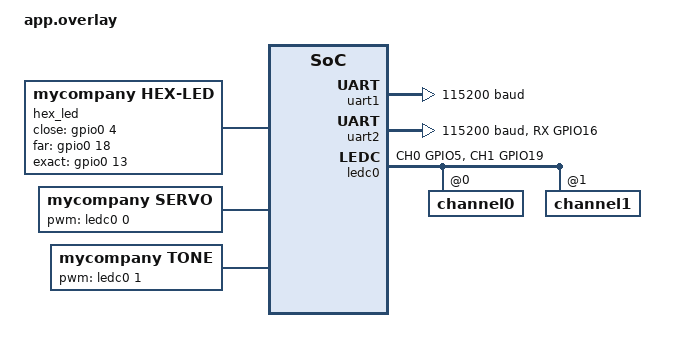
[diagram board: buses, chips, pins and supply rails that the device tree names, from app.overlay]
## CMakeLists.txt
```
cmake_minimum_required(VERSION 3.20.0)

# Directories that CONTAIN dts/bindings. Must come before find_package.
list(APPEND DTS_ROOT
    ${CMAKE_CURRENT_SOURCE_DIR}/modules/servo
    ${CMAKE_CURRENT_SOURCE_DIR}/modules/hex_led
    ${CMAKE_CURRENT_SOURCE_DIR}/modules/tone
    ${CMAKE_CURRENT_SOURCE_DIR}/modules/receiver
)

find_package(Zephyr REQUIRED HINTS $ENV{ZEPHYR_BASE})
project(system1)

target_sources(app PRIVATE
    src/main.c
    modules/servo/src/servo.c
    modules/hex_led/src/hex_led.c
    modules/tone/src/tone.c
    modules/receiver/src/receiver.c
)

target_include_directories(app PRIVATE
    ${CMAKE_CURRENT_SOURCE_DIR}/modules/servo/include
    ${CMAKE_CURRENT_SOURCE_DIR}/modules/hex_led/include
    ${CMAKE_CURRENT_SOURCE_DIR}/modules/tone/include
    ${CMAKE_CURRENT_SOURCE_DIR}/modules/receiver/include
)
```

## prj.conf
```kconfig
CONFIG_SERIAL=y
CONFIG_CONSOLE=y
CONFIG_PRINTK=y
CONFIG_STDOUT_CONSOLE=y
CONFIG_PWM=y
CONFIG_UART_CONSOLE=y
CONFIG_MAIN_STACK_SIZE=2048
CONFIG_UART_INTERRUPT_DRIVEN=n
CONFIG_UART_ASYNC_API=n

CONFIG_LOG=y
CONFIG_LOG_DEFAULT_LEVEL=3
```

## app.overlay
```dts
#include <zephyr/dt-bindings/pinctrl/esp32-pinctrl.h>
#include <zephyr/dt-bindings/pwm/pwm.h>

/ {
    hex_led: hex-led {
        compatible = "mycompany,hex-led";
        status = "okay";

        close-gpios = <&gpio0 4 GPIO_ACTIVE_HIGH>;
        far-gpios = <&gpio0 18 GPIO_ACTIVE_HIGH>;
        exact-gpios = <&gpio0 13 GPIO_ACTIVE_HIGH>;
    };

    servo: servo {
        compatible = "mycompany,servo";
        status = "okay";

        /*
         * LEDC channel 0
         * 20,000,000 ns = 20 ms = 50 Hz
         */
        pwms = <&ledc0 0 20000000 PWM_POLARITY_NORMAL>;

        min-pulse = <1000>;
        max-pulse = <2000>;
        min-angle = <0>;
        max-angle = <180>;
    };
    tone: tone {
        compatible = "mycompany,tone";
        pwms = <&ledc0 1 125000 0>;
        status = "okay";
    };

    receiver: receiver {
        compatible = "mycompany,receiver";
        status = "okay";
	uart=<&uart2>;
    };

};

&pinctrl {
    ledc0_pins: ledc0_pins {
        group1 {
            pinmux = <LEDC_CH0_GPIO5>;
            output-enable;
        };
        group2 {
            pinmux = <LEDC_CH1_GPIO19>;   /* your buzzer pin */
            output-enable;
        };
    };
};

&uart1 {
    status = "okay";
    current-speed = <115200>;
};

&pinctrl {
    uart2_default: uart2_default {
        group1 {
            pinmux = <UART2_RX_GPIO16>;
            bias-pull-up;
        };
    };
};

&uart2 {
    status = "okay";
    current-speed = <115200>;
    pinctrl-0 = <&uart2_default>;
    pinctrl-names = "default";
};


&ledc0 {
    pinctrl-0 = <&ledc0_pins>;
    pinctrl-names = "default";
    status = "okay";

    #address-cells = <1>;
    #size-cells = <0>;

    channel0@0 {
        reg = <0>;
        timer = <0>;
    };

    channel1@1 {
        reg = <1>;
        timer = <1>;   /* separate from the servo's timer */
    };
};
```

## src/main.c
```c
#include <stdio.h>
#include <stdint.h>
#include <string.h>
#include <stdlib.h>

#include <zephyr/kernel.h>
#include <zephyr/device.h>
#include <zephyr/drivers/uart.h>

#include <servo.h>
#include <hex_led.h>
#include <tone.h>
#include <receiver.h>

#define TARGET      0x3FF44564u
#define NEAR_BAND   16u

#define STACK_SIZE  2048
#define PRIORITY    5
#define QUEUE_SIZE  8

/* Tone command limits */
#define TONE_MIN_HZ   20u
#define TONE_MAX_HZ   20000u
#define TONE_MIN_MS   1u
#define TONE_MAX_MS   10000u

K_MSGQ_DEFINE(hex_msgq, sizeof(uint32_t), QUEUE_SIZE, 4);
K_MSGQ_DEFINE(angle_msgq, sizeof(uint32_t), QUEUE_SIZE, 4);
K_MSGQ_DEFINE(tone_msgq, sizeof(uint32_t) * 2, QUEUE_SIZE, 4);
K_MSGQ_DEFINE(receiver_msgq, sizeof(uint8_t), QUEUE_SIZE, 4);

K_THREAD_STACK_DEFINE(led_stack, STACK_SIZE);
K_THREAD_STACK_DEFINE(servo_stack, STACK_SIZE);
K_THREAD_STACK_DEFINE(input_stack, STACK_SIZE);
K_THREAD_STACK_DEFINE(tone_stack, STACK_SIZE);
K_THREAD_STACK_DEFINE(receiver_stack, STACK_SIZE);

K_MUTEX_DEFINE(print_mutex);

/* All task output goes through this so lines from different threads
 * don't interleave. */
#define LOCKED_PRINTF(...)                      \
    do {                                        \
        k_mutex_lock(&print_mutex, K_FOREVER);  \
        printf(__VA_ARGS__);                    \
        k_mutex_unlock(&print_mutex);           \
    } while (0)

static struct k_thread receiver_thread_data;
static struct k_thread led_thread_data;
static struct k_thread servo_thread_data;
static struct k_thread input_thread_data;
static struct k_thread tone_thread_data;

static const struct device *leds =
    DEVICE_DT_GET(DT_NODELABEL(hex_led));

static const struct device *uart_dev =
    DEVICE_DT_GET(DT_CHOSEN(zephyr_console));

struct tone_command {
    uint32_t duration_ms;
    uint32_t frequency_hz;
};

/* ---------- Input task ---------- */

static void input_task(void *p1, void *p2, void *p3)
{
    ARG_UNUSED(p1);
    ARG_UNUSED(p2);
    ARG_UNUSED(p3);

    char line[32];
    size_t pos = 0;

    LOCKED_PRINTF("\nCommands:\n"
                  "  hex <value>\n"
                  "  angle <1-180>\n"
                  "  tone <time(ms)> <frequency(Hz)>\n\n"
                  "> ");

    while (1) {
        unsigned char c;

        if (uart_poll_in(uart_dev, &c) != 0) {
            k_msleep(10);
            continue;
        }

        /* Ignore carriage return; process newline */
        if (c == '\r') {
            continue;
        }

        if (c == '\n') {
            line[pos] = '\0';

            if (pos > 0) {

                if (strncmp(line, "hex ", 4) == 0) {

                    uint32_t value =
                        (uint32_t)strtoul(&line[4], NULL, 16);

                    if (k_msgq_put(&hex_msgq,
                                   &value,
                                   K_NO_WAIT) != 0) {
                        LOCKED_PRINTF("\nHex queue full\n");
                    }
                }

                else if (strncmp(line, "angle ", 6) == 0) {

                    uint32_t angle =
                        (uint32_t)strtoul(&line[6], NULL, 10);

                    if (angle >= 1 && angle <= 180) {

                        if (k_msgq_put(&angle_msgq,
                                       &angle,
                                       K_NO_WAIT) != 0) {
                            LOCKED_PRINTF("\nAngle queue full\n");
                        }

                    } else {
                        LOCKED_PRINTF("\nAngle must be 1-180\n");
                    }
                }

                else if (strncmp(line, "tone ", 5) == 0) {

                    char *end;

                    uint32_t duration =
                        (uint32_t)strtoul(&line[5], &end, 10);

                    while (*end == ' ') {
                        end++;
                    }

                    uint32_t frequency =
                        (uint32_t)strtoul(end, NULL, 10);

                    struct tone_command command = {
                        .duration_ms = duration,
                        .frequency_hz = frequency
                    };

                    if (duration < TONE_MIN_MS || duration > TONE_MAX_MS ||
                        frequency < TONE_MIN_HZ || frequency > TONE_MAX_HZ) {
                        LOCKED_PRINTF("\nUsage: tone <%u-%u ms> <%u-%u Hz>\n",
                                      TONE_MIN_MS, TONE_MAX_MS,
                                      TONE_MIN_HZ, TONE_MAX_HZ);
                    } else if (k_msgq_put(&tone_msgq,
                                          &command,
                                          K_NO_WAIT) != 0) {
                        LOCKED_PRINTF("\nTone queue full\n");
                    }
                }

                else {
                    LOCKED_PRINTF("\nUnknown command: %s\n", line);
                }
            }

            pos = 0;
            LOCKED_PRINTF("> ");
        }

        else if (pos < sizeof(line) - 1) {
            line[pos++] = c;
	    putchar(c);
        }
    }
}

/* ---------- LED task ---------- */

static void led_task(void *p1, void *p2, void *p3)
{
    ARG_UNUSED(p1);
    ARG_UNUSED(p2);
    ARG_UNUSED(p3);

    uint32_t guess;

    hex_led_set(leds, HEX_LED_OFF);

    while (1) {
        k_msgq_get(&hex_msgq, &guess, K_FOREVER);

        uint32_t delta =
            (guess > TARGET) ?
            guess - TARGET :
            TARGET - guess;

        if (delta == 0) {
            hex_led_set(leds, HEX_LED_EXACT);
        }
        else if (delta <= NEAR_BAND) {
            hex_led_set(leds, HEX_LED_CLOSE);
        }
        else {
            hex_led_set(leds, HEX_LED_FAR);
        }

        LOCKED_PRINTF("\nHex: 0x%08X  delta: 0x%X\n",
                      (unsigned)guess,
                      (unsigned)delta);
    }
}

/* ---------- Servo task ---------- */

static void servo_task(void *p1, void *p2, void *p3)
{
    ARG_UNUSED(p1);
    ARG_UNUSED(p2);
    ARG_UNUSED(p3);

    uint32_t angle;

    servo_init();

    while (1) {
        k_msgq_get(&angle_msgq, &angle, K_FOREVER);

        servo_set_angle(angle);

        LOCKED_PRINTF("\nServo: %u degrees\n", (unsigned)angle);
    }
}

/* ---------- Tone task ---------- */

static void tone_task(void *p1, void *p2, void *p3)
{
    ARG_UNUSED(p1);
    ARG_UNUSED(p2);
    ARG_UNUSED(p3);

    struct tone_command command;

    int ret = tone_init();
    if (ret != 0) {
        LOCKED_PRINTF("Tone init failed: %d\n", ret);
        return;
    }

    while (1) {
        k_msgq_get(&tone_msgq, &command, K_FOREVER);

        ret = tone_play(command.duration_ms, command.frequency_hz);
        if (ret != 0) {
            LOCKED_PRINTF("\nTone play failed: %d\n", ret);
            continue;
        }

        LOCKED_PRINTF("\nTone: %u Hz for %u ms\n",
                      (unsigned)command.frequency_hz,
                      (unsigned)command.duration_ms);
    }
}

/* ---------- Receiver task ---------- */

static void receiver_task(void *p1, void *p2, void *p3)
{
    ARG_UNUSED(p1);
    ARG_UNUSED(p2);
    ARG_UNUSED(p3);

    uint8_t value;

    if (receiver_init() != 0) {
        LOCKED_PRINTF("Receiver initialization failed!\n");
        return;
    }

    LOCKED_PRINTF("\nReceiver ready. Waiting for 0-255 values...\n");

    while (1) {

        if (receiver_read(&value) == 0) {

            /* One UART byte represents one signal value (0-255). */
            LOCKED_PRINTF("\nReceived signal: %u (0x%02X)\n",
                          (unsigned)value,
                          (unsigned)value);

            /* Hand the value to whichever subsystem consumes it. */
            if (k_msgq_put(&receiver_msgq, &value, K_NO_WAIT) != 0) {
                LOCKED_PRINTF("Receiver queue full; value discarded\n");
            }
        }

        k_msleep(5000);
    }
}

/* ---------- Main ---------- */

int main(void)
{
    if (!device_is_ready(leds)) {
        printf("LED device not ready!\n");
        return 0;
    }

    if (!device_is_ready(uart_dev)) {
        printf("UART not ready!\n");
        return 0;
    }

    k_thread_create(&input_thread_data,
                    input_stack,
                    K_THREAD_STACK_SIZEOF(input_stack),
                    input_task,
                    NULL, NULL, NULL,
                    PRIORITY,
                    0,
                    K_NO_WAIT);

    k_thread_create(&led_thread_data,
                    led_stack,
                    K_THREAD_STACK_SIZEOF(led_stack),
                    led_task,
                    NULL, NULL, NULL,
                    PRIORITY,
                    0,
                    K_NO_WAIT);

    k_thread_create(&servo_thread_data,
                    servo_stack,
                    K_THREAD_STACK_SIZEOF(servo_stack),
                    servo_task,
                    NULL, NULL, NULL,
                    PRIORITY,
                    0,
                    K_NO_WAIT);

    k_thread_create(&tone_thread_data,
                    tone_stack,
                    K_THREAD_STACK_SIZEOF(tone_stack),
                    tone_task,
                    NULL, NULL, NULL,
                    PRIORITY,
                    0,
                    K_NO_WAIT);

    k_thread_create(&receiver_thread_data,
                    receiver_stack,
                    K_THREAD_STACK_SIZEOF(receiver_stack),
                    receiver_task,
                    NULL, NULL, NULL,
                    PRIORITY,
                    0,
                    K_NO_WAIT);

    return 0;
}
```
